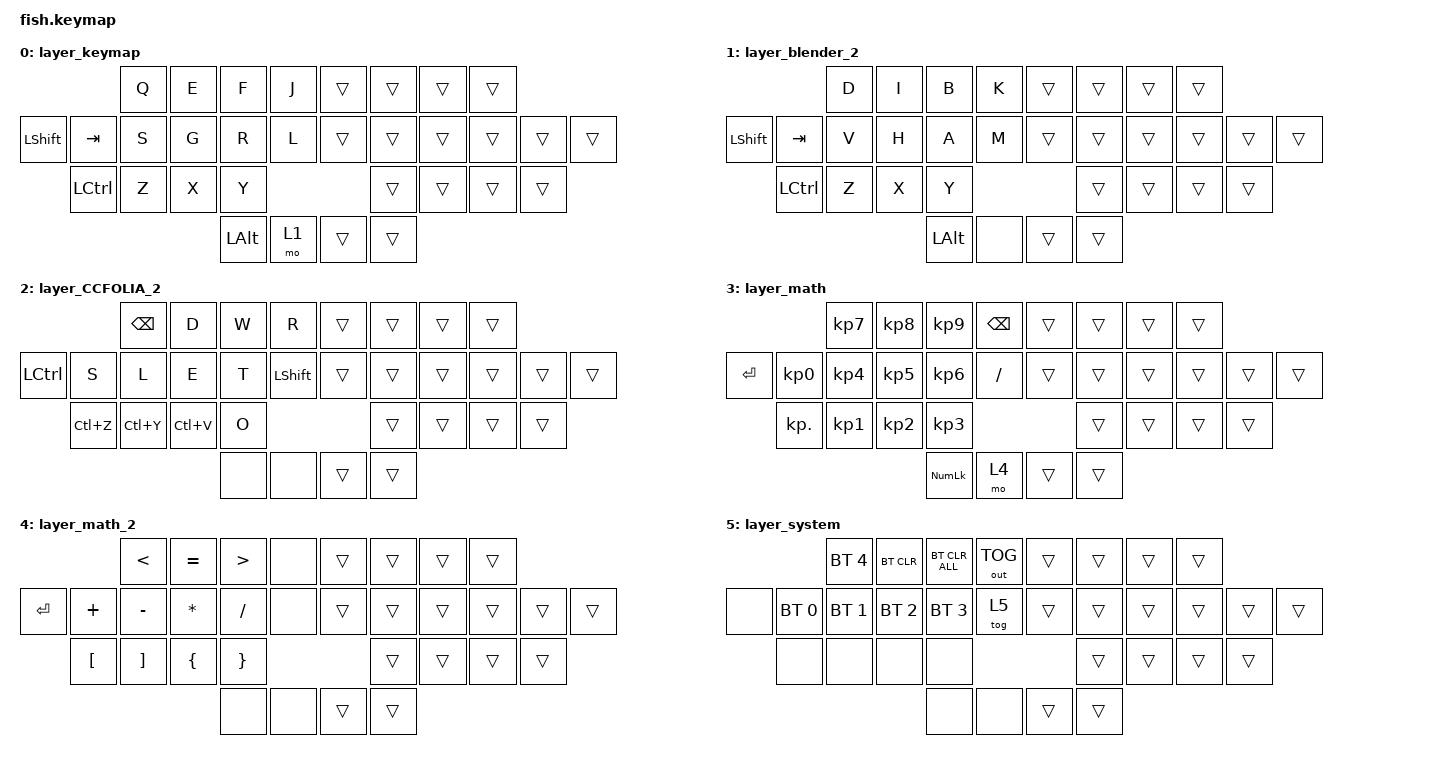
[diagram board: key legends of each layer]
// キーマップを更新する方法は https://o24.works/fish/guide を参照
// 視覚的に編集するには https://o24.works/fish/editor を参照


// 定義を呼んでくる
#include <behaviors.dtsi>
#include <dt-bindings/zmk/keys.h>
#include <dt-bindings/zmk/mouse.h>
#include <dt-bindings/zmk/bt.h>
#include <dt-bindings/zmk/outputs.h>
#include <dt-bindings/zmk/pointing.h>


// 特殊入力の挙動を調整できる

&mt {
    flavor = "tap-preferred";
    tapping-term-ms = <225>;
    quick-tap-ms = <200>;
    require-prior-idle-ms = <150>;
};

&lt {
    flavor = "balanced";
    tapping-term-ms = <175>;
    quick-tap-ms = <200>;
};

&sk {
};

&sl {
};

&caps_word {
};

&key_repeat {
};


/ {
    // 独自の入力を定義できる（上級者向け）

    behaviors {
    };

    macros {
    };

    conditional_layers {
    };


    // 複数キーの同時押しに特別の入力を設定できる
    // キー番号早見表：
    //       0  1  2  3     4  5  6  7
    // 8  9 10 11 12 13    14 15 16 17 18 19
    //   20 21 22 23          24 25 26 27
    //            28 29    30 31

    combos {
        compatible = "zmk,combos";
        timeout-ms = <100>;
        require-prior-idle-ms = <150>;

        combo_lang2 {
            key-positions = <11 12>;
            bindings = <&kp LANG2>;
        };

        combo_reset_L {
            key-positions = <3 8 13>;
            bindings = <&bootloader>;
        };

        combo_studio_unlock {
            key-positions = <20 21 22 23>;
            bindings = <&studio_unlock>;
        };

        combo_tog_CCF {
            key-positions = <3 13>;
            bindings = <&tog 2>;
        };

        combo_tog_math {
            key-positions = <0 1>;
            bindings = <&tog 3>;
        };

        combo_tog_5 {
            key-positions = <0 1 8>;
            bindings = <&tog 5>;
        };
    };
    

    // キーに入力を割り当てる
    // 型（&...）は https://zmk.dev/docs/behaviors/... を参照
    // キーコードは https://zmk.dev/docs/codes/... を参照

    keymap {
        compatible = "zmk,keymap";

        layer_keymap {
            bindings = <
                        &kp Q       &kp E       &kp F       &kp J               &trans      &trans      &trans      &trans      
&kp LSHFT   &kp TAB     &kp S       &kp G       &kp R       &kp L               &trans      &trans      &trans      &trans      &trans      &trans      
            &kp LCTRL   &kp Z       &kp X       &kp Y                                       &trans      &trans      &trans      &trans      
                                                &kp LALT    &mo 1               &trans      &trans      
            >;
        };

        layer_blender_2 {
            bindings = <
                        &kp D       &kp I       &kp B       &kp K               &trans      &trans      &trans      &trans      
&kp LSHFT   &kp TAB     &kp V       &kp H       &kp A       &kp M               &trans      &trans      &trans      &trans      &trans      &trans      
            &kp LCTRL   &kp Z       &kp X       &kp Y                                       &trans      &trans      &trans      &trans      
                                                &kp LALT    &none               &trans      &trans      
            >;
        };

        layer_CCFOLIA_2 {
            bindings = <
                        &kp BSPC    &kp D       &kp W       &kp R               &trans      &trans      &trans      &trans      
&kp LCTRL   &kp S       &kp L       &kp E       &kp T       &kp LSHFT           &trans      &trans      &trans      &trans      &trans      &trans      
            &kp LC(Z)   &kp LC(Y)   &kp LC(V)   &kp O                                       &trans      &trans      &trans      &trans      
                                                &none       &none               &trans      &trans      
            >;
        };

        layer_math {
            bindings = <
                        &kp KP_N7   &kp KP_N8   &kp KP_N9   &kp BSPC            &trans      &trans      &trans      &trans      
&kp RET     &kp KP_N0   &kp KP_N4   &kp KP_N5   &kp KP_N6   &kp FSLH            &trans      &trans      &trans      &trans      &trans      &trans      
            &kp KP_DOT  &kp KP_N1   &kp KP_N2   &kp KP_N3                                   &trans      &trans      &trans      &trans      
                                                &kp KP_NUM  &mo 4               &trans      &trans      
            >;
        };

        layer_math_2 {
            bindings = <
                        &kp LT      &kp EQUAL   &kp GT      &none               &trans      &trans      &trans      &trans      
&kp RET     &kp PLUS    &kp MINUS   &kp STAR    &kp FSLH    &none               &trans      &trans      &trans      &trans      &trans      &trans      
            &kp LBKT    &kp RBKT    &kp LBRC    &kp RBRC                                    &trans      &trans      &trans      &trans      
                                                &none       &none               &trans      &trans      
            >;
        };

        layer_system {
            bindings = <
                        &bt BT_SEL 4 &bt BT_CLR &bt BT_CLR_ALL &out OUT_TOG     &trans      &trans      &trans      &trans      
&none       &bt BT_SEL 0 &bt BT_SEL 1 &bt BT_SEL 2 &bt BT_SEL 3 &tog 5          &trans      &trans      &trans      &trans      &trans      &trans      
            &none       &none       &none       &none                                       &trans      &trans      &trans      &trans      
                                                &none       &none               &trans      &trans      
            >;
        };
    };
};
